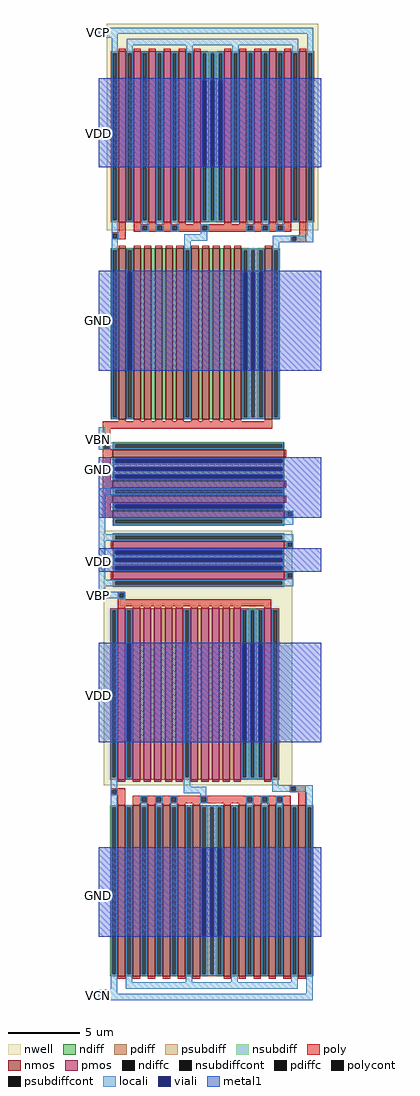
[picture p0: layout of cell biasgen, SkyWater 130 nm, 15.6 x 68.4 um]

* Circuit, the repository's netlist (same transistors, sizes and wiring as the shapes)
* NGSPICE file created from biasgen.ext - technology: sky130A


* Top level circuit biasgen

X0 a_n4050_n2940# VBN a_n4200_n2940# GND sky130_fd_pr__nfet_01v8 ad=1.5 pd=12.2 as=1.5 ps=12.2 w=12 l=0.5
X1 VBP VBN GND GND sky130_fd_pr__nfet_01v8 ad=3.3 pd=12.6 as=3.3 ps=12.6 w=12 l=0.5
X2 a_n3090_n2940# VBN a_n3240_n2940# GND sky130_fd_pr__nfet_01v8 ad=1.5 pd=12.2 as=1.5 ps=12.2 w=12 l=0.5
X3 a_n3900_n2940# VBN a_n4050_n2940# GND sky130_fd_pr__nfet_01v8 ad=1.5 pd=12.2 as=1.5 ps=12.2 w=12 l=0.5
X4 a_n3240_n2940# VBN a_n3390_n2940# GND sky130_fd_pr__nfet_01v8 ad=1.5 pd=12.2 as=1.5 ps=12.2 w=12 l=0.5
X5 a_n4460_n10780# a_n4460_n10780# a_n4460_n10780# GND sky130_fd_pr__nfet_01v8 ad=3.3 pd=12.6 as=39.6 ps=151 w=12 l=0.5
X6 a_n4450_n310# a_n4450_n310# a_n4450_n310# VDD sky130_fd_pr__pfet_01v8 ad=3.3 pd=12.6 as=39.6 ps=151 w=12 l=0.5
X7 GND VBN VBN GND sky130_fd_pr__nfet_01v8 ad=3.3 pd=12.6 as=6.6 ps=25.1 w=12 l=0.5
X8 GND VBN VBP GND sky130_fd_pr__nfet_01v8 ad=6.6 pd=25.1 as=3.3 ps=12.6 w=12 l=0.5
X9 a_n4560_n180# VCP VCP VDD sky130_fd_pr__pfet_01v8 ad=3.3 pd=12.6 as=6.6 ps=25.1 w=12 l=0.5
X10 VDD VBP VCN VDD sky130_fd_pr__pfet_01v8 ad=3.3 pd=12.6 as=6.6 ps=25.1 w=12 l=0.5
X11 a_n3910_n7990# VBP a_n4060_n7990# VDD sky130_fd_pr__pfet_01v8 ad=1.5 pd=12.2 as=1.5 ps=12.2 w=12 l=0.5
X12 VDD VBP a_n3100_n7990# VDD sky130_fd_pr__pfet_01v8 ad=6.6 pd=25.1 as=1.5 ps=12.2 w=12 l=0.5
X13 a_n4460_n10780# VBP a_n3910_n7990# VDD sky130_fd_pr__pfet_01v8 ad=3.3 pd=12.6 as=1.5 ps=12.2 w=12 l=0.5
X14 a_n4570_n10750# a_n4460_n10780# GND GND sky130_fd_pr__nfet_01v8 ad=3.3 pd=12.6 as=6.6 ps=25.1 w=12 l=0.5
X15 a_n4460_n10780# a_n4460_n10780# a_n4460_n10780# GND sky130_fd_pr__nfet_01v8 ad=3.3 pd=12.6 as=0 ps=0 w=12 l=0.5
X16 GND VBN VCP GND sky130_fd_pr__nfet_01v8 ad=3.3 pd=12.6 as=6.6 ps=25.1 w=12 l=0.5
X17 VBN VBN GND GND sky130_fd_pr__nfet_01v8 ad=6.6 pd=25.1 as=6.6 ps=25.1 w=12 l=0.5
X18 a_n4450_n310# a_n4450_n310# a_n4560_n180# VDD sky130_fd_pr__pfet_01v8 ad=3.3 pd=12.6 as=3.3 ps=12.6 w=12 l=0.5
X19 GND VBN a_n3090_n2940# GND sky130_fd_pr__nfet_01v8 ad=6.6 pd=25.1 as=1.5 ps=12.2 w=12 l=0.5
X20 a_n4570_n10750# a_n4460_n10780# a_n4460_n10780# GND sky130_fd_pr__nfet_01v8 ad=3.3 pd=12.6 as=3.3 ps=12.6 w=12 l=0.5
X21 a_n4450_n310# VBN a_n3900_n2940# GND sky130_fd_pr__nfet_01v8 ad=3.3 pd=12.6 as=1.5 ps=12.2 w=12 l=0.5
X22 VCN VBP VDD VDD sky130_fd_pr__pfet_01v8 ad=6.6 pd=25.1 as=6.6 ps=25.1 w=12 l=0.5
X23 VCP VCP a_n4560_n180# VDD sky130_fd_pr__pfet_01v8 ad=6.6 pd=25.1 as=3.3 ps=12.6 w=12 l=0.5
X24 VCN VCN a_n4570_n10750# GND sky130_fd_pr__nfet_01v8 ad=6.6 pd=25.1 as=3.3 ps=12.6 w=12 l=0.5
X25 a_n4450_n310# a_n4450_n310# a_n4450_n310# VDD sky130_fd_pr__pfet_01v8 ad=3.3 pd=12.6 as=0 ps=0 w=12 l=0.5
X26 a_n4570_n10750# VCN VCN GND sky130_fd_pr__nfet_01v8 ad=3.3 pd=12.6 as=6.6 ps=25.1 w=12 l=0.5
X27 VCP VBN GND GND sky130_fd_pr__nfet_01v8 ad=6.6 pd=25.1 as=6.6 ps=25.1 w=12 l=0.5
X28 a_n4360_n7990# VBP VDD VDD sky130_fd_pr__pfet_01v8 ad=1.5 pd=12.2 as=3.3 ps=12.6 w=12 l=0.5
X29 VDD VBP VBP VDD sky130_fd_pr__pfet_01v8 ad=6.6 pd=25.1 as=6.6 ps=25.1 w=12 l=0.5
X30 a_n3400_n7990# VBP a_n3550_n7990# VDD sky130_fd_pr__pfet_01v8 ad=1.5 pd=12.2 as=1.5 ps=12.2 w=12 l=0.5
X31 a_n4570_n10750# a_n4460_n10780# a_n4460_n10780# GND sky130_fd_pr__nfet_01v8 ad=3.3 pd=12.6 as=3.3 ps=12.6 w=12 l=0.5
X32 a_n4560_n180# a_n4450_n310# a_n4450_n310# VDD sky130_fd_pr__pfet_01v8 ad=3.3 pd=12.6 as=3.3 ps=12.6 w=12 l=0.5
X33 a_n3550_n7990# VBP a_n4460_n10780# VDD sky130_fd_pr__pfet_01v8 ad=1.5 pd=12.2 as=3.3 ps=12.6 w=12 l=0.5
X34 a_n4460_n10780# a_n4460_n10780# a_n4570_n10750# GND sky130_fd_pr__nfet_01v8 ad=3.3 pd=12.6 as=3.3 ps=12.6 w=12 l=0.5
X35 a_n4200_n2940# VBN a_n4350_n2940# GND sky130_fd_pr__nfet_01v8 ad=1.5 pd=12.2 as=1.5 ps=12.2 w=12 l=0.5
X36 a_n4450_n310# a_n4450_n310# a_n4450_n310# VDD sky130_fd_pr__pfet_01v8 ad=3.3 pd=12.6 as=0 ps=0 w=12 l=0.5
X37 a_n4350_n2940# VBN GND GND sky130_fd_pr__nfet_01v8 ad=1.5 pd=12.2 as=3.3 ps=12.6 w=12 l=0.5
X38 VBP VBP VDD VDD sky130_fd_pr__pfet_01v8 ad=6.6 pd=25.1 as=6.6 ps=25.1 w=12 l=0.5
X39 VDD a_n4450_n310# a_n4560_n180# VDD sky130_fd_pr__pfet_01v8 ad=6.6 pd=25.1 as=3.3 ps=12.6 w=12 l=0.5
X40 GND a_n4460_n10780# a_n4570_n10750# GND sky130_fd_pr__nfet_01v8 ad=6.6 pd=25.1 as=3.3 ps=12.6 w=12 l=0.5
X41 a_n3390_n2940# VBN a_n3540_n2940# GND sky130_fd_pr__nfet_01v8 ad=1.5 pd=12.2 as=1.5 ps=12.2 w=12 l=0.5
X42 a_n4460_n10780# a_n4460_n10780# a_n4460_n10780# GND sky130_fd_pr__nfet_01v8 ad=3.3 pd=12.6 as=0 ps=0 w=12 l=0.5
X43 a_n3540_n2940# VBN a_n4450_n310# GND sky130_fd_pr__nfet_01v8 ad=1.5 pd=12.2 as=3.3 ps=12.6 w=12 l=0.5
X44 a_n4560_n180# a_n4450_n310# VDD VDD sky130_fd_pr__pfet_01v8 ad=3.3 pd=12.6 as=6.6 ps=25.1 w=12 l=0.5
X45 a_n4060_n7990# VBP a_n4210_n7990# VDD sky130_fd_pr__pfet_01v8 ad=1.5 pd=12.2 as=1.5 ps=12.2 w=12 l=0.5
X46 a_n4450_n310# a_n4450_n310# a_n4450_n310# VDD sky130_fd_pr__pfet_01v8 ad=3.3 pd=12.6 as=0 ps=0 w=12 l=0.5
X47 a_n4210_n7990# VBP a_n4360_n7990# VDD sky130_fd_pr__pfet_01v8 ad=1.5 pd=12.2 as=1.5 ps=12.2 w=12 l=0.5
X48 a_n3100_n7990# VBP a_n3250_n7990# VDD sky130_fd_pr__pfet_01v8 ad=1.5 pd=12.2 as=1.5 ps=12.2 w=12 l=0.5
X49 a_n4460_n10780# a_n4460_n10780# a_n4460_n10780# GND sky130_fd_pr__nfet_01v8 ad=3.3 pd=12.6 as=0 ps=0 w=12 l=0.5
X50 a_n4450_n310# a_n4450_n310# a_n4560_n180# VDD sky130_fd_pr__pfet_01v8 ad=3.3 pd=12.6 as=3.3 ps=12.6 w=12 l=0.5
X51 a_n4560_n180# a_n4450_n310# a_n4450_n310# VDD sky130_fd_pr__pfet_01v8 ad=3.3 pd=12.6 as=3.3 ps=12.6 w=12 l=0.5
X52 a_n3250_n7990# VBP a_n3400_n7990# VDD sky130_fd_pr__pfet_01v8 ad=1.5 pd=12.2 as=1.5 ps=12.2 w=12 l=0.5
X53 a_n4460_n10780# a_n4460_n10780# a_n4570_n10750# GND sky130_fd_pr__nfet_01v8 ad=3.3 pd=12.6 as=3.3 ps=12.6 w=12 l=0.5
.end

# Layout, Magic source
magic
tech sky130A
<< nwell >>
rect -2415 -145 -930 1300
rect -2435 -4035 -1115 -2250
<< nmos >>
rect -2330 -1470 -2280 -270
rect -2225 -1470 -2175 -270
rect -2150 -1470 -2100 -270
rect -2075 -1470 -2025 -270
rect -2000 -1470 -1950 -270
rect -1925 -1470 -1875 -270
rect -1820 -1470 -1770 -270
rect -1745 -1470 -1695 -270
rect -1670 -1470 -1620 -270
rect -1595 -1470 -1545 -270
rect -1520 -1470 -1470 -270
rect -1305 -1470 -1255 -270
rect -2370 -1735 -1170 -1685
rect -2370 -1950 -1170 -1900
rect -2370 -2055 -1170 -2005
rect -2370 -2160 -1170 -2110
rect -2335 -5375 -2285 -4175
rect -2230 -5375 -2180 -4175
rect -2125 -5375 -2075 -4175
rect -2020 -5375 -1970 -4175
rect -1915 -5375 -1865 -4175
rect -1810 -5375 -1760 -4175
rect -1595 -5375 -1545 -4175
rect -1490 -5375 -1440 -4175
rect -1385 -5375 -1335 -4175
rect -1280 -5375 -1230 -4175
rect -1175 -5375 -1125 -4175
rect -1070 -5375 -1020 -4175
<< pmos >>
rect -2330 -90 -2280 1110
rect -2225 -90 -2175 1110
rect -2120 -90 -2070 1110
rect -2015 -90 -1965 1110
rect -1910 -90 -1860 1110
rect -1805 -90 -1755 1110
rect -1590 -90 -1540 1110
rect -1485 -90 -1435 1110
rect -1380 -90 -1330 1110
rect -1275 -90 -1225 1110
rect -1170 -90 -1120 1110
rect -1065 -90 -1015 1110
rect -2370 -2375 -1170 -2325
rect -2370 -2590 -1170 -2540
rect -2335 -3995 -2285 -2795
rect -2230 -3995 -2180 -2795
rect -2155 -3995 -2105 -2795
rect -2080 -3995 -2030 -2795
rect -2005 -3995 -1955 -2795
rect -1930 -3995 -1880 -2795
rect -1825 -3995 -1775 -2795
rect -1750 -3995 -1700 -2795
rect -1675 -3995 -1625 -2795
rect -1600 -3995 -1550 -2795
rect -1525 -3995 -1475 -2795
rect -1310 -3995 -1260 -2795
<< ndiff >>
rect -2385 -285 -2330 -270
rect -2385 -1455 -2370 -285
rect -2345 -1455 -2330 -285
rect -2385 -1470 -2330 -1455
rect -2280 -285 -2225 -270
rect -2280 -1455 -2265 -285
rect -2240 -1455 -2225 -285
rect -2280 -1470 -2225 -1455
rect -2175 -1470 -2150 -270
rect -2100 -1470 -2075 -270
rect -2025 -1470 -2000 -270
rect -1950 -1470 -1925 -270
rect -1875 -285 -1820 -270
rect -1875 -1455 -1860 -285
rect -1835 -1455 -1820 -285
rect -1875 -1470 -1820 -1455
rect -1770 -1470 -1745 -270
rect -1695 -1470 -1670 -270
rect -1620 -1470 -1595 -270
rect -1545 -1470 -1520 -270
rect -1470 -285 -1415 -270
rect -1360 -285 -1305 -270
rect -1470 -1455 -1455 -285
rect -1430 -1455 -1415 -285
rect -1360 -1455 -1345 -285
rect -1320 -1455 -1305 -285
rect -1470 -1470 -1415 -1455
rect -1360 -1470 -1305 -1455
rect -1255 -285 -1200 -270
rect -1255 -1455 -1240 -285
rect -1215 -1455 -1200 -285
rect -1255 -1470 -1200 -1455
rect -2370 -1645 -1170 -1630
rect -2370 -1670 -2355 -1645
rect -1185 -1670 -1170 -1645
rect -2370 -1685 -1170 -1670
rect -2370 -1750 -1170 -1735
rect -2370 -1775 -2355 -1750
rect -1185 -1775 -1170 -1750
rect -2370 -1790 -1170 -1775
rect -2370 -1860 -1170 -1845
rect -2370 -1885 -2355 -1860
rect -1185 -1885 -1170 -1860
rect -2370 -1900 -1170 -1885
rect -2370 -1965 -1170 -1950
rect -2370 -1990 -2355 -1965
rect -1185 -1990 -1170 -1965
rect -2370 -2005 -1170 -1990
rect -2370 -2070 -1170 -2055
rect -2370 -2095 -2355 -2070
rect -1185 -2095 -1170 -2070
rect -2370 -2110 -1170 -2095
rect -2370 -2175 -1170 -2160
rect -2370 -2200 -2355 -2175
rect -1185 -2200 -1170 -2175
rect -2370 -2215 -1170 -2200
rect -2390 -4190 -2335 -4175
rect -2390 -5360 -2375 -4190
rect -2350 -5360 -2335 -4190
rect -2390 -5375 -2335 -5360
rect -2285 -4190 -2230 -4175
rect -2285 -5360 -2270 -4190
rect -2245 -5360 -2230 -4190
rect -2285 -5375 -2230 -5360
rect -2180 -4190 -2125 -4175
rect -2180 -5360 -2165 -4190
rect -2140 -5360 -2125 -4190
rect -2180 -5375 -2125 -5360
rect -2075 -4190 -2020 -4175
rect -2075 -5360 -2060 -4190
rect -2035 -5360 -2020 -4190
rect -2075 -5375 -2020 -5360
rect -1970 -4190 -1915 -4175
rect -1970 -5360 -1955 -4190
rect -1930 -5360 -1915 -4190
rect -1970 -5375 -1915 -5360
rect -1865 -4190 -1810 -4175
rect -1865 -5360 -1850 -4190
rect -1825 -5360 -1810 -4190
rect -1865 -5375 -1810 -5360
rect -1760 -4190 -1705 -4175
rect -1650 -4190 -1595 -4175
rect -1760 -5360 -1745 -4190
rect -1720 -5360 -1705 -4190
rect -1650 -5360 -1635 -4190
rect -1610 -5360 -1595 -4190
rect -1760 -5375 -1705 -5360
rect -1650 -5375 -1595 -5360
rect -1545 -4190 -1490 -4175
rect -1545 -5360 -1530 -4190
rect -1505 -5360 -1490 -4190
rect -1545 -5375 -1490 -5360
rect -1440 -4190 -1385 -4175
rect -1440 -5360 -1425 -4190
rect -1400 -5360 -1385 -4190
rect -1440 -5375 -1385 -5360
rect -1335 -4190 -1280 -4175
rect -1335 -5360 -1320 -4190
rect -1295 -5360 -1280 -4190
rect -1335 -5375 -1280 -5360
rect -1230 -4190 -1175 -4175
rect -1230 -5360 -1215 -4190
rect -1190 -5360 -1175 -4190
rect -1230 -5375 -1175 -5360
rect -1125 -4190 -1070 -4175
rect -1125 -5360 -1110 -4190
rect -1085 -5360 -1070 -4190
rect -1125 -5375 -1070 -5360
rect -1020 -4190 -965 -4175
rect -1020 -5360 -1005 -4190
rect -980 -5360 -965 -4190
rect -1020 -5375 -965 -5360
<< pdiff >>
rect -2385 1095 -2330 1110
rect -2385 -75 -2370 1095
rect -2345 -75 -2330 1095
rect -2385 -90 -2330 -75
rect -2280 1095 -2225 1110
rect -2280 -75 -2265 1095
rect -2240 -75 -2225 1095
rect -2280 -90 -2225 -75
rect -2175 1095 -2120 1110
rect -2175 -75 -2160 1095
rect -2135 -75 -2120 1095
rect -2175 -90 -2120 -75
rect -2070 1095 -2015 1110
rect -2070 -75 -2055 1095
rect -2030 -75 -2015 1095
rect -2070 -90 -2015 -75
rect -1965 1095 -1910 1110
rect -1965 -75 -1950 1095
rect -1925 -75 -1910 1095
rect -1965 -90 -1910 -75
rect -1860 1095 -1805 1110
rect -1860 -75 -1845 1095
rect -1820 -75 -1805 1095
rect -1860 -90 -1805 -75
rect -1755 1095 -1700 1110
rect -1645 1095 -1590 1110
rect -1755 -75 -1740 1095
rect -1715 -75 -1700 1095
rect -1645 -75 -1630 1095
rect -1605 -75 -1590 1095
rect -1755 -90 -1700 -75
rect -1645 -90 -1590 -75
rect -1540 1095 -1485 1110
rect -1540 -75 -1525 1095
rect -1500 -75 -1485 1095
rect -1540 -90 -1485 -75
rect -1435 1095 -1380 1110
rect -1435 -75 -1420 1095
rect -1395 -75 -1380 1095
rect -1435 -90 -1380 -75
rect -1330 1095 -1275 1110
rect -1330 -75 -1315 1095
rect -1290 -75 -1275 1095
rect -1330 -90 -1275 -75
rect -1225 1095 -1170 1110
rect -1225 -75 -1210 1095
rect -1185 -75 -1170 1095
rect -1225 -90 -1170 -75
rect -1120 1095 -1065 1110
rect -1120 -75 -1105 1095
rect -1080 -75 -1065 1095
rect -1120 -90 -1065 -75
rect -1015 1095 -960 1110
rect -1015 -75 -1000 1095
rect -975 -75 -960 1095
rect -1015 -90 -960 -75
rect -2370 -2285 -1170 -2270
rect -2370 -2310 -2355 -2285
rect -1185 -2310 -1170 -2285
rect -2370 -2325 -1170 -2310
rect -2370 -2390 -1170 -2375
rect -2370 -2415 -2355 -2390
rect -1185 -2415 -1170 -2390
rect -2370 -2430 -1170 -2415
rect -2370 -2500 -1170 -2485
rect -2370 -2525 -2355 -2500
rect -1185 -2525 -1170 -2500
rect -2370 -2540 -1170 -2525
rect -2370 -2605 -1170 -2590
rect -2370 -2630 -2355 -2605
rect -1185 -2630 -1170 -2605
rect -2370 -2645 -1170 -2630
rect -2390 -2810 -2335 -2795
rect -2390 -3980 -2375 -2810
rect -2350 -3980 -2335 -2810
rect -2390 -3995 -2335 -3980
rect -2285 -2810 -2230 -2795
rect -2285 -3980 -2270 -2810
rect -2245 -3980 -2230 -2810
rect -2285 -3995 -2230 -3980
rect -2180 -3995 -2155 -2795
rect -2105 -3995 -2080 -2795
rect -2030 -3995 -2005 -2795
rect -1955 -3995 -1930 -2795
rect -1880 -2810 -1825 -2795
rect -1880 -3980 -1865 -2810
rect -1840 -3980 -1825 -2810
rect -1880 -3995 -1825 -3980
rect -1775 -3995 -1750 -2795
rect -1700 -3995 -1675 -2795
rect -1625 -3995 -1600 -2795
rect -1550 -3995 -1525 -2795
rect -1475 -2810 -1420 -2795
rect -1365 -2810 -1310 -2795
rect -1475 -3980 -1460 -2810
rect -1435 -3980 -1420 -2810
rect -1365 -3980 -1350 -2810
rect -1325 -3980 -1310 -2810
rect -1475 -3995 -1420 -3980
rect -1365 -3995 -1310 -3980
rect -1260 -2810 -1205 -2795
rect -1260 -3980 -1245 -2810
rect -1220 -3980 -1205 -2810
rect -1260 -3995 -1205 -3980
<< ndiffc >>
rect -2370 -1455 -2345 -285
rect -2265 -1455 -2240 -285
rect -1860 -1455 -1835 -285
rect -1455 -1455 -1430 -285
rect -1345 -1455 -1320 -285
rect -1240 -1455 -1215 -285
rect -2355 -1670 -1185 -1645
rect -2355 -1775 -1185 -1750
rect -2355 -1885 -1185 -1860
rect -2355 -1990 -1185 -1965
rect -2355 -2095 -1185 -2070
rect -2355 -2200 -1185 -2175
rect -2375 -5360 -2350 -4190
rect -2270 -5360 -2245 -4190
rect -2165 -5360 -2140 -4190
rect -2060 -5360 -2035 -4190
rect -1955 -5360 -1930 -4190
rect -1850 -5360 -1825 -4190
rect -1745 -5360 -1720 -4190
rect -1635 -5360 -1610 -4190
rect -1530 -5360 -1505 -4190
rect -1425 -5360 -1400 -4190
rect -1320 -5360 -1295 -4190
rect -1215 -5360 -1190 -4190
rect -1110 -5360 -1085 -4190
rect -1005 -5360 -980 -4190
<< pdiffc >>
rect -2370 -75 -2345 1095
rect -2265 -75 -2240 1095
rect -2160 -75 -2135 1095
rect -2055 -75 -2030 1095
rect -1950 -75 -1925 1095
rect -1845 -75 -1820 1095
rect -1740 -75 -1715 1095
rect -1630 -75 -1605 1095
rect -1525 -75 -1500 1095
rect -1420 -75 -1395 1095
rect -1315 -75 -1290 1095
rect -1210 -75 -1185 1095
rect -1105 -75 -1080 1095
rect -1000 -75 -975 1095
rect -2355 -2310 -1185 -2285
rect -2355 -2415 -1185 -2390
rect -2355 -2525 -1185 -2500
rect -2355 -2630 -1185 -2605
rect -2375 -3980 -2350 -2810
rect -2270 -3980 -2245 -2810
rect -1865 -3980 -1840 -2810
rect -1460 -3980 -1435 -2810
rect -1350 -3980 -1325 -2810
rect -1245 -3980 -1220 -2810
<< psubdiff >>
rect -1415 -285 -1360 -270
rect -1415 -1455 -1400 -285
rect -1375 -1455 -1360 -285
rect -1415 -1470 -1360 -1455
rect -2370 -1805 -1170 -1790
rect -2370 -1830 -2355 -1805
rect -1185 -1830 -1170 -1805
rect -2370 -1845 -1170 -1830
rect -1705 -4190 -1650 -4175
rect -1705 -5360 -1690 -4190
rect -1665 -5360 -1650 -4190
rect -1705 -5375 -1650 -5360
<< nsubdiff >>
rect -1700 1095 -1645 1110
rect -1700 -75 -1685 1095
rect -1660 -75 -1645 1095
rect -1700 -90 -1645 -75
rect -2370 -2445 -1170 -2430
rect -2370 -2470 -2355 -2445
rect -1185 -2470 -1170 -2445
rect -2370 -2485 -1170 -2470
rect -1420 -2810 -1365 -2795
rect -1420 -3980 -1405 -2810
rect -1380 -3980 -1365 -2810
rect -1420 -3995 -1365 -3980
<< psubdiffcont >>
rect -1400 -1455 -1375 -285
rect -2355 -1830 -1185 -1805
rect -1690 -5360 -1665 -4190
<< nsubdiffcont >>
rect -1685 -75 -1660 1095
rect -2355 -2470 -1185 -2445
rect -1405 -3980 -1380 -2810
<< poly >>
rect -2330 1110 -2280 1125
rect -2225 1110 -2175 1125
rect -2120 1110 -2070 1125
rect -2015 1110 -1965 1125
rect -1910 1110 -1860 1125
rect -1805 1110 -1755 1125
rect -1590 1110 -1540 1125
rect -1485 1110 -1435 1125
rect -1380 1110 -1330 1125
rect -1275 1110 -1225 1125
rect -1170 1110 -1120 1125
rect -1065 1110 -1015 1125
rect -2330 -160 -2280 -90
rect -2225 -105 -2175 -90
rect -2120 -105 -2070 -90
rect -2015 -105 -1965 -90
rect -1910 -105 -1860 -90
rect -1805 -105 -1755 -90
rect -1590 -105 -1540 -90
rect -1485 -105 -1435 -90
rect -1380 -105 -1330 -90
rect -1275 -105 -1225 -90
rect -1170 -105 -1120 -90
rect -2225 -115 -1120 -105
rect -2225 -145 -2165 -115
rect -2130 -145 -2060 -115
rect -2025 -145 -1955 -115
rect -1920 -145 -1745 -115
rect -1710 -145 -1425 -115
rect -1390 -145 -1320 -115
rect -1285 -145 -1215 -115
rect -1180 -145 -1120 -115
rect -2225 -155 -1120 -145
rect -2380 -170 -2280 -160
rect -2380 -200 -2370 -170
rect -2340 -200 -2280 -170
rect -1065 -180 -1015 -90
rect -2380 -210 -2280 -200
rect -1125 -190 -1015 -180
rect -1125 -220 -1115 -190
rect -1085 -220 -1015 -190
rect -1125 -230 -1015 -220
rect -2330 -270 -2280 -255
rect -2225 -270 -2175 -255
rect -2150 -270 -2100 -255
rect -2075 -270 -2025 -255
rect -2000 -270 -1950 -255
rect -1925 -270 -1875 -255
rect -1820 -270 -1770 -255
rect -1745 -270 -1695 -255
rect -1670 -270 -1620 -255
rect -1595 -270 -1545 -255
rect -1520 -270 -1470 -255
rect -1305 -270 -1255 -255
rect -2330 -1485 -2280 -1470
rect -2225 -1485 -2175 -1470
rect -2150 -1485 -2100 -1470
rect -2075 -1485 -2025 -1470
rect -2000 -1485 -1950 -1470
rect -1925 -1485 -1875 -1470
rect -1820 -1485 -1770 -1470
rect -1745 -1485 -1695 -1470
rect -1670 -1485 -1620 -1470
rect -1595 -1485 -1545 -1470
rect -1520 -1485 -1470 -1470
rect -1305 -1485 -1255 -1470
rect -2440 -1535 -1255 -1485
rect -2440 -1645 -2390 -1535
rect -2440 -1675 -2430 -1645
rect -2400 -1675 -2390 -1645
rect -2440 -1685 -2390 -1675
rect -2440 -1735 -2370 -1685
rect -1170 -1735 -1155 -1685
rect -2440 -1900 -2385 -1735
rect -2440 -1950 -2370 -1900
rect -1170 -1950 -1155 -1900
rect -2440 -2005 -2385 -1950
rect -2440 -2055 -2370 -2005
rect -1170 -2055 -1155 -2005
rect -2440 -2110 -2385 -2055
rect -2440 -2160 -2370 -2110
rect -1170 -2120 -1105 -2110
rect -1170 -2150 -1145 -2120
rect -1115 -2150 -1105 -2120
rect -1170 -2160 -1105 -2150
rect -2385 -2375 -2370 -2325
rect -1170 -2335 -1105 -2325
rect -1170 -2365 -1145 -2335
rect -1115 -2365 -1105 -2335
rect -1170 -2375 -1105 -2365
rect -2385 -2590 -2370 -2540
rect -1170 -2550 -1105 -2540
rect -1170 -2580 -1145 -2550
rect -1115 -2580 -1105 -2550
rect -1170 -2590 -1105 -2580
rect -2335 -2690 -2285 -2680
rect -2335 -2720 -2325 -2690
rect -2295 -2720 -2285 -2690
rect -2335 -2730 -2285 -2720
rect -2335 -2780 -1260 -2730
rect -2335 -2795 -2285 -2780
rect -2230 -2795 -2180 -2780
rect -2155 -2795 -2105 -2780
rect -2080 -2795 -2030 -2780
rect -2005 -2795 -1955 -2780
rect -1930 -2795 -1880 -2780
rect -1825 -2795 -1775 -2780
rect -1750 -2795 -1700 -2780
rect -1675 -2795 -1625 -2780
rect -1600 -2795 -1550 -2780
rect -1525 -2795 -1475 -2780
rect -1310 -2795 -1260 -2780
rect -2335 -4010 -2285 -3995
rect -2230 -4010 -2180 -3995
rect -2155 -4010 -2105 -3995
rect -2080 -4010 -2030 -3995
rect -2005 -4010 -1955 -3995
rect -1930 -4010 -1880 -3995
rect -1825 -4010 -1775 -3995
rect -1750 -4010 -1700 -3995
rect -1675 -4010 -1625 -3995
rect -1600 -4010 -1550 -3995
rect -1525 -4010 -1475 -3995
rect -1310 -4010 -1260 -3995
rect -1130 -4045 -1020 -4035
rect -2385 -4065 -2285 -4055
rect -2385 -4095 -2375 -4065
rect -2345 -4095 -2285 -4065
rect -1130 -4075 -1120 -4045
rect -1090 -4075 -1020 -4045
rect -1130 -4085 -1020 -4075
rect -2385 -4105 -2285 -4095
rect -2335 -4175 -2285 -4105
rect -2230 -4120 -1125 -4110
rect -2230 -4150 -2170 -4120
rect -2135 -4150 -2065 -4120
rect -2030 -4150 -1960 -4120
rect -1925 -4150 -1750 -4120
rect -1715 -4150 -1430 -4120
rect -1395 -4150 -1325 -4120
rect -1290 -4150 -1220 -4120
rect -1185 -4150 -1125 -4120
rect -2230 -4160 -1125 -4150
rect -2230 -4175 -2180 -4160
rect -2125 -4175 -2075 -4160
rect -2020 -4175 -1970 -4160
rect -1915 -4175 -1865 -4160
rect -1810 -4175 -1760 -4160
rect -1595 -4175 -1545 -4160
rect -1490 -4175 -1440 -4160
rect -1385 -4175 -1335 -4160
rect -1280 -4175 -1230 -4160
rect -1175 -4175 -1125 -4160
rect -1070 -4175 -1020 -4085
rect -2335 -5390 -2285 -5375
rect -2230 -5390 -2180 -5375
rect -2125 -5390 -2075 -5375
rect -2020 -5390 -1970 -5375
rect -1915 -5390 -1865 -5375
rect -1810 -5390 -1760 -5375
rect -1595 -5390 -1545 -5375
rect -1490 -5390 -1440 -5375
rect -1385 -5390 -1335 -5375
rect -1280 -5390 -1230 -5375
rect -1175 -5390 -1125 -5375
rect -1070 -5390 -1020 -5375
<< polycont >>
rect -2165 -145 -2130 -115
rect -2060 -145 -2025 -115
rect -1955 -145 -1920 -115
rect -1745 -145 -1710 -115
rect -1425 -145 -1390 -115
rect -1320 -145 -1285 -115
rect -1215 -145 -1180 -115
rect -2370 -200 -2340 -170
rect -1115 -220 -1085 -190
rect -2430 -1675 -2400 -1645
rect -1145 -2150 -1115 -2120
rect -1145 -2365 -1115 -2335
rect -1145 -2580 -1115 -2550
rect -2325 -2720 -2295 -2690
rect -2375 -4095 -2345 -4065
rect -1120 -4075 -1090 -4045
rect -2170 -4150 -2135 -4120
rect -2065 -4150 -2030 -4120
rect -1960 -4150 -1925 -4120
rect -1750 -4150 -1715 -4120
rect -1430 -4150 -1395 -4120
rect -1325 -4150 -1290 -4120
rect -1220 -4150 -1185 -4120
<< locali >>
rect -2470 1230 -965 1275
rect -2470 1205 -2335 1230
rect -2380 1095 -2335 1205
rect -2380 -75 -2370 1095
rect -2345 -75 -2335 1095
rect -2380 -160 -2335 -75
rect -2275 1150 -1070 1195
rect -2275 1095 -2230 1150
rect -2275 -75 -2265 1095
rect -2240 -75 -2230 1095
rect -2275 -85 -2230 -75
rect -2170 1095 -2125 1105
rect -2170 -75 -2160 1095
rect -2135 -75 -2125 1095
rect -2170 -105 -2125 -75
rect -2065 1095 -2020 1105
rect -2065 -75 -2055 1095
rect -2030 -75 -2020 1095
rect -2065 -105 -2020 -75
rect -1960 1095 -1915 1105
rect -1960 -75 -1950 1095
rect -1925 -75 -1915 1095
rect -1960 -105 -1915 -75
rect -1855 1095 -1810 1150
rect -1855 -75 -1845 1095
rect -1820 -75 -1810 1095
rect -1855 -85 -1810 -75
rect -1750 1095 -1595 1105
rect -1750 -75 -1740 1095
rect -1715 -75 -1685 1095
rect -1660 -75 -1630 1095
rect -1605 -75 -1595 1095
rect -1750 -85 -1595 -75
rect -1535 1095 -1490 1150
rect -1535 -75 -1525 1095
rect -1500 -75 -1490 1095
rect -1535 -85 -1490 -75
rect -1430 1095 -1385 1105
rect -1430 -75 -1420 1095
rect -1395 -75 -1385 1095
rect -1430 -105 -1385 -75
rect -1325 1095 -1280 1105
rect -1325 -75 -1315 1095
rect -1290 -75 -1280 1095
rect -1325 -105 -1280 -75
rect -1220 1095 -1175 1105
rect -1220 -75 -1210 1095
rect -1185 -75 -1175 1095
rect -1220 -105 -1175 -75
rect -1115 1095 -1070 1150
rect -1115 -75 -1105 1095
rect -1080 -75 -1070 1095
rect -1115 -85 -1070 -75
rect -1010 1095 -965 1230
rect -1010 -75 -1000 1095
rect -975 -75 -965 1095
rect -2175 -115 -2120 -105
rect -2175 -145 -2165 -115
rect -2130 -145 -2120 -115
rect -2175 -155 -2120 -145
rect -2070 -115 -2015 -105
rect -2070 -145 -2060 -115
rect -2025 -145 -2015 -115
rect -2070 -155 -2015 -145
rect -1965 -115 -1910 -105
rect -1965 -145 -1955 -115
rect -1920 -145 -1910 -115
rect -1965 -155 -1910 -145
rect -1755 -115 -1700 -105
rect -1755 -145 -1745 -115
rect -1710 -145 -1700 -115
rect -1755 -155 -1700 -145
rect -1435 -115 -1380 -105
rect -1435 -145 -1425 -115
rect -1390 -145 -1380 -115
rect -1435 -155 -1380 -145
rect -1330 -115 -1275 -105
rect -1330 -145 -1320 -115
rect -1285 -145 -1275 -115
rect -1330 -155 -1275 -145
rect -1225 -115 -1170 -105
rect -1225 -145 -1215 -115
rect -1180 -145 -1170 -115
rect -1225 -155 -1170 -145
rect -2380 -170 -2330 -160
rect -2380 -200 -2370 -170
rect -2340 -200 -2330 -170
rect -1755 -175 -1710 -155
rect -2380 -210 -2330 -200
rect -2380 -285 -2335 -210
rect -1870 -220 -1710 -175
rect -1125 -185 -1075 -180
rect -1010 -185 -965 -75
rect -1250 -190 -965 -185
rect -1250 -220 -1115 -190
rect -1085 -220 -965 -190
rect -2380 -1455 -2370 -285
rect -2345 -1455 -2335 -285
rect -2380 -1465 -2335 -1455
rect -2275 -285 -2230 -275
rect -2275 -1455 -2265 -285
rect -2240 -1455 -2230 -285
rect -2275 -1465 -2230 -1455
rect -1870 -285 -1825 -220
rect -1250 -230 -965 -220
rect -1870 -1455 -1860 -285
rect -1835 -1455 -1825 -285
rect -1870 -1465 -1825 -1455
rect -1465 -285 -1310 -275
rect -1465 -1455 -1455 -285
rect -1430 -1455 -1400 -285
rect -1375 -1455 -1345 -285
rect -1320 -1455 -1310 -285
rect -1465 -1465 -1310 -1455
rect -1250 -285 -1205 -230
rect -1250 -1455 -1240 -285
rect -1215 -1455 -1205 -285
rect -1250 -1465 -1205 -1455
rect -2470 -1635 -2425 -1525
rect -2470 -1645 -1175 -1635
rect -2470 -1675 -2430 -1645
rect -2400 -1670 -2355 -1645
rect -1185 -1670 -1175 -1645
rect -2400 -1675 -1175 -1670
rect -2470 -1680 -1175 -1675
rect -2470 -1685 -2390 -1680
rect -2365 -1750 -1175 -1740
rect -2365 -1775 -2355 -1750
rect -1185 -1775 -1175 -1750
rect -2365 -1805 -1175 -1775
rect -2365 -1830 -2355 -1805
rect -1185 -1830 -1175 -1805
rect -2365 -1860 -1175 -1830
rect -2365 -1885 -2355 -1860
rect -1185 -1885 -1175 -1860
rect -2365 -1895 -1175 -1885
rect -2470 -1965 -1175 -1955
rect -2470 -1990 -2355 -1965
rect -1185 -1990 -1175 -1965
rect -2470 -2000 -1175 -1990
rect -2470 -2275 -2425 -2000
rect -2365 -2070 -1175 -2060
rect -2365 -2095 -2355 -2070
rect -1185 -2095 -1175 -2070
rect -2365 -2105 -1175 -2095
rect -1155 -2120 -1105 -2110
rect -1155 -2150 -1145 -2120
rect -1115 -2150 -1105 -2120
rect -1155 -2165 -1105 -2150
rect -2365 -2175 -1105 -2165
rect -2365 -2200 -2355 -2175
rect -1185 -2200 -1105 -2175
rect -2365 -2210 -1105 -2200
rect -2470 -2285 -1105 -2275
rect -2470 -2310 -2355 -2285
rect -1185 -2310 -1105 -2285
rect -2470 -2320 -1105 -2310
rect -2470 -2595 -2425 -2320
rect -1155 -2335 -1105 -2320
rect -1155 -2365 -1145 -2335
rect -1115 -2365 -1105 -2335
rect -1155 -2375 -1105 -2365
rect -2365 -2390 -1175 -2380
rect -2365 -2415 -2355 -2390
rect -1185 -2415 -1175 -2390
rect -2365 -2445 -1175 -2415
rect -2365 -2470 -2355 -2445
rect -1185 -2470 -1175 -2445
rect -2365 -2500 -1175 -2470
rect -2365 -2525 -2355 -2500
rect -1185 -2525 -1175 -2500
rect -2365 -2535 -1175 -2525
rect -1155 -2550 -1105 -2540
rect -1155 -2580 -1145 -2550
rect -1115 -2580 -1105 -2550
rect -1155 -2595 -1105 -2580
rect -2470 -2605 -1105 -2595
rect -2470 -2630 -2355 -2605
rect -1185 -2630 -1105 -2605
rect -2470 -2640 -1105 -2630
rect -2470 -2680 -2425 -2640
rect -2470 -2690 -2285 -2680
rect -2470 -2720 -2325 -2690
rect -2295 -2720 -2285 -2690
rect -2470 -2725 -2285 -2720
rect -2335 -2730 -2285 -2725
rect -2385 -2810 -2340 -2800
rect -2385 -3980 -2375 -2810
rect -2350 -3980 -2340 -2810
rect -2385 -4055 -2340 -3980
rect -2280 -2810 -2235 -2800
rect -2280 -3980 -2270 -2810
rect -2245 -3980 -2235 -2810
rect -2280 -3990 -2235 -3980
rect -1875 -2810 -1830 -2800
rect -1875 -3980 -1865 -2810
rect -1840 -3980 -1830 -2810
rect -1875 -4045 -1830 -3980
rect -1470 -2810 -1315 -2800
rect -1470 -3980 -1460 -2810
rect -1435 -3980 -1405 -2810
rect -1380 -3980 -1350 -2810
rect -1325 -3980 -1315 -2810
rect -1470 -3990 -1315 -3980
rect -1255 -2810 -1210 -2800
rect -1255 -3980 -1245 -2810
rect -1220 -3980 -1210 -2810
rect -1255 -4035 -1210 -3980
rect -1255 -4045 -970 -4035
rect -2385 -4065 -2335 -4055
rect -2385 -4095 -2375 -4065
rect -2345 -4095 -2335 -4065
rect -1875 -4090 -1715 -4045
rect -1255 -4075 -1120 -4045
rect -1090 -4075 -970 -4045
rect -1255 -4080 -970 -4075
rect -1130 -4085 -1080 -4080
rect -2385 -4105 -2335 -4095
rect -2385 -4190 -2340 -4105
rect -1760 -4110 -1715 -4090
rect -2180 -4120 -2125 -4110
rect -2180 -4150 -2170 -4120
rect -2135 -4150 -2125 -4120
rect -2180 -4160 -2125 -4150
rect -2075 -4120 -2020 -4110
rect -2075 -4150 -2065 -4120
rect -2030 -4150 -2020 -4120
rect -2075 -4160 -2020 -4150
rect -1970 -4120 -1915 -4110
rect -1970 -4150 -1960 -4120
rect -1925 -4150 -1915 -4120
rect -1970 -4160 -1915 -4150
rect -1760 -4120 -1705 -4110
rect -1760 -4150 -1750 -4120
rect -1715 -4150 -1705 -4120
rect -1760 -4160 -1705 -4150
rect -1440 -4120 -1385 -4110
rect -1440 -4150 -1430 -4120
rect -1395 -4150 -1385 -4120
rect -1440 -4160 -1385 -4150
rect -1335 -4120 -1280 -4110
rect -1335 -4150 -1325 -4120
rect -1290 -4150 -1280 -4120
rect -1335 -4160 -1280 -4150
rect -1230 -4120 -1175 -4110
rect -1230 -4150 -1220 -4120
rect -1185 -4150 -1175 -4120
rect -1230 -4160 -1175 -4150
rect -2385 -5360 -2375 -4190
rect -2350 -5360 -2340 -4190
rect -2385 -5465 -2340 -5360
rect -2280 -4190 -2235 -4180
rect -2280 -5360 -2270 -4190
rect -2245 -5360 -2235 -4190
rect -2280 -5415 -2235 -5360
rect -2175 -4190 -2130 -4160
rect -2175 -5360 -2165 -4190
rect -2140 -5360 -2130 -4190
rect -2175 -5370 -2130 -5360
rect -2070 -4190 -2025 -4160
rect -2070 -5360 -2060 -4190
rect -2035 -5360 -2025 -4190
rect -2070 -5370 -2025 -5360
rect -1965 -4190 -1920 -4160
rect -1965 -5360 -1955 -4190
rect -1930 -5360 -1920 -4190
rect -1965 -5370 -1920 -5360
rect -1860 -4190 -1815 -4180
rect -1860 -5360 -1850 -4190
rect -1825 -5360 -1815 -4190
rect -1860 -5415 -1815 -5360
rect -1755 -4190 -1600 -4180
rect -1755 -5360 -1745 -4190
rect -1720 -5360 -1690 -4190
rect -1665 -5360 -1635 -4190
rect -1610 -5360 -1600 -4190
rect -1755 -5370 -1600 -5360
rect -1540 -4190 -1495 -4180
rect -1540 -5360 -1530 -4190
rect -1505 -5360 -1495 -4190
rect -1540 -5415 -1495 -5360
rect -1435 -4190 -1390 -4160
rect -1435 -5360 -1425 -4190
rect -1400 -5360 -1390 -4190
rect -1435 -5370 -1390 -5360
rect -1330 -4190 -1285 -4160
rect -1330 -5360 -1320 -4190
rect -1295 -5360 -1285 -4190
rect -1330 -5370 -1285 -5360
rect -1225 -4190 -1180 -4160
rect -1225 -5360 -1215 -4190
rect -1190 -5360 -1180 -4190
rect -1225 -5370 -1180 -5360
rect -1120 -4190 -1075 -4180
rect -1120 -5360 -1110 -4190
rect -1085 -5360 -1075 -4190
rect -1120 -5415 -1075 -5360
rect -2280 -5460 -1075 -5415
rect -1015 -4190 -970 -4080
rect -1015 -5360 -1005 -4190
rect -980 -5360 -970 -4190
rect -2470 -5495 -2340 -5465
rect -1015 -5495 -970 -5360
rect -2470 -5540 -970 -5495
<< viali >>
rect -1740 300 -1715 905
rect -1685 300 -1660 905
rect -1630 300 -1605 905
rect -2265 -1125 -2240 -440
rect -1455 -1125 -1430 -440
rect -1400 -1125 -1375 -440
rect -1345 -1125 -1320 -440
rect -2355 -1775 -1185 -1750
rect -2355 -1830 -1185 -1805
rect -2355 -1885 -1185 -1860
rect -2355 -2095 -1185 -2070
rect -2355 -2415 -1185 -2390
rect -2355 -2470 -1185 -2445
rect -2355 -2525 -1185 -2500
rect -2270 -3730 -2245 -3040
rect -1460 -3730 -1435 -3040
rect -1405 -3730 -1380 -3040
rect -1350 -3730 -1325 -3040
rect -1745 -5090 -1720 -4475
rect -1690 -5090 -1665 -4475
rect -1635 -5090 -1610 -4475
<< metal1 >>
rect -2470 905 -910 920
rect -2470 300 -1740 905
rect -1715 300 -1685 905
rect -1660 300 -1630 905
rect -1605 300 -910 905
rect -2470 295 -910 300
rect -2470 -440 -910 -430
rect -2470 -1125 -2265 -440
rect -2240 -1125 -1455 -440
rect -1430 -1125 -1400 -440
rect -1375 -1125 -1345 -440
rect -1320 -1125 -910 -440
rect -2470 -1130 -910 -1125
rect -2470 -1750 -910 -1735
rect -2470 -1775 -2355 -1750
rect -1185 -1775 -910 -1750
rect -2470 -1805 -910 -1775
rect -2470 -1830 -2355 -1805
rect -1185 -1830 -910 -1805
rect -2470 -1860 -910 -1830
rect -2470 -1885 -2355 -1860
rect -1185 -1885 -910 -1860
rect -2470 -2070 -910 -1885
rect -2470 -2095 -2355 -2070
rect -1185 -2095 -910 -2070
rect -2470 -2160 -910 -2095
rect -2470 -2390 -910 -2375
rect -2470 -2415 -2355 -2390
rect -1185 -2415 -910 -2390
rect -2470 -2445 -910 -2415
rect -2470 -2470 -2355 -2445
rect -1185 -2470 -910 -2445
rect -2470 -2500 -910 -2470
rect -2470 -2525 -2355 -2500
rect -1185 -2525 -910 -2500
rect -2470 -2540 -910 -2525
rect -2470 -3040 -910 -3035
rect -2470 -3730 -2270 -3040
rect -2245 -3730 -1460 -3040
rect -1435 -3730 -1405 -3040
rect -1380 -3730 -1350 -3040
rect -1325 -3730 -910 -3040
rect -2470 -3735 -910 -3730
rect -2470 -4475 -910 -4470
rect -2470 -5090 -1745 -4475
rect -1720 -5090 -1690 -4475
rect -1665 -5090 -1635 -4475
rect -1610 -5090 -910 -4475
rect -2470 -5095 -910 -5090
<< labels >>
rlabel metal1 -2470 -4810 -2470 -4810 7 GND
rlabel metal1 -2470 -3405 -2470 -3405 7 VDD
rlabel locali -2470 -2705 -2470 -2705 7 VBP
rlabel metal1 -2470 -2465 -2470 -2465 7 VDD
rlabel metal1 -2470 -1825 -2470 -1825 7 GND
rlabel locali -2470 -1615 -2470 -1615 7 VBN
rlabel metal1 -2470 -780 -2470 -780 7 GND
rlabel metal1 -2470 530 -2470 530 7 VDD
rlabel locali -2470 1240 -2470 1240 7 VCP
rlabel locali -2470 -5505 -2470 -5505 7 VCN
<< end >>
